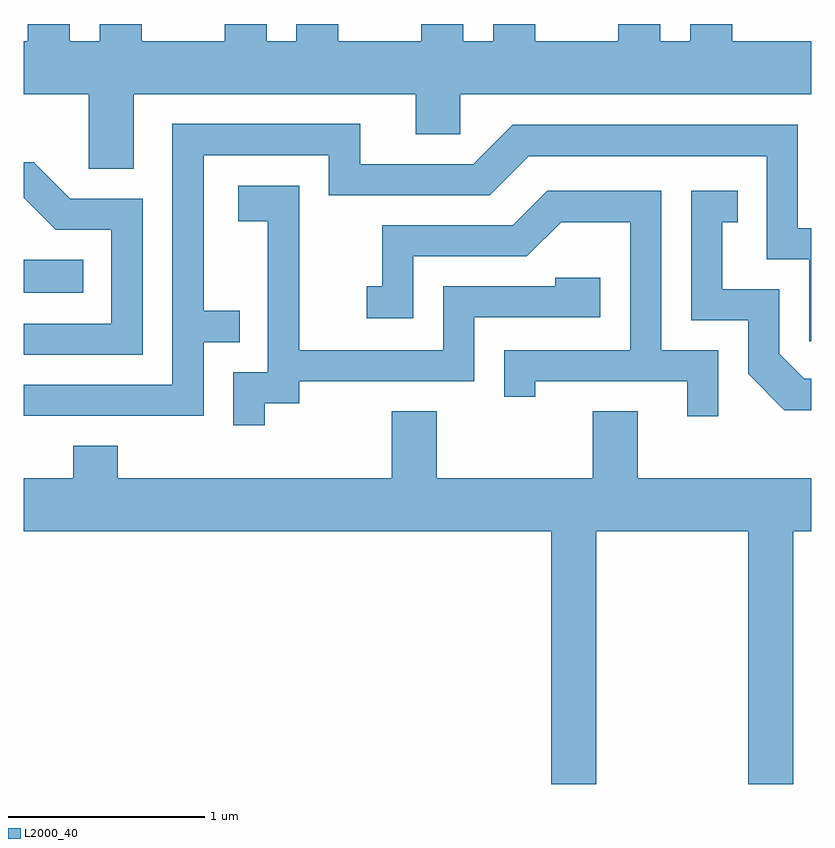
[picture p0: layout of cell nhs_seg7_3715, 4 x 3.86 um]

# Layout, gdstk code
import gdstk
lib = gdstk.Library(unit=1e-6, precision=1e-09)
def R(c, l, rs):  # rectangles x0, y0, x1, y1
    for r in rs: c.add(gdstk.rectangle(r[:2], r[2:], *l))
def P(c, l, *ps):  # polygons
    for p in ps: c.add(gdstk.Polygon(p, *l))
L2000_40 = (2000, 40)

nhs_seg7_3715 = lib.new_cell('nhs_seg7_3715')
R(nhs_seg7_3715, L2000_40, [(299.611,1688.886,299.913,1689.054)])
P(nhs_seg7_3715, L2000_40, [(300.169,1689.896),(301.601,1689.896),(301.601,1689.691),(301.829,1689.691),(301.829,1689.896),(303.611,1689.896),(303.611,1690.164),(303.209,1690.164),(303.209,1690.252),(302.996,1690.252),(302.996,1690.164),(302.844,1690.164),(302.844,1690.252),(302.631,1690.252),(302.631,1690.164),(302.209,1690.164),(302.209,1690.252),(301.996,1690.252),(301.996,1690.164),(301.844,1690.164),(301.844,1690.252),(301.631,1690.252),(301.631,1690.164),(301.209,1690.164),(301.209,1690.252),(300.996,1690.252),(300.996,1690.164),(300.844,1690.164),(300.844,1690.252),(300.631,1690.252),(300.631,1690.164),(300.209,1690.164),(300.209,1690.252),(299.996,1690.252),(299.996,1690.164),(299.844,1690.164),(299.844,1690.252),(299.631,1690.252),(299.631,1690.164),(299.611,1690.164),(299.611,1689.896),(299.941,1689.896),(299.941,1689.516),(300.169,1689.516)],
  [(300.524,1688.636),(300.708,1688.636),(300.708,1688.794),(300.524,1688.794),(300.524,1689.586),(301.161,1689.586),(301.161,1689.381),(301.977,1689.381),(302.177,1689.581),(303.386,1689.581),(303.386,1689.056),(303.601,1689.056),(303.601,1688.641),(303.611,1688.641),(303.611,1689.214),(303.544,1689.214),(303.544,1689.739),(302.094,1689.739),(301.894,1689.539),(301.319,1689.539),(301.319,1689.744),(300.366,1689.744),(300.366,1688.419),(299.611,1688.419),(299.611,1688.261),(300.524,1688.261)],
  [(300.214,1689.364),(299.847,1689.364),(299.662,1689.549),(299.611,1689.549),(299.611,1689.369),(299.774,1689.206),(300.056,1689.206),(300.056,1688.729),(299.611,1688.729),(299.611,1688.571),(300.214,1688.571)],
  [(300.834,1688.326),(301.009,1688.326),(301.009,1688.436),(301.899,1688.436),(301.899,1688.761),(302.539,1688.761),(302.539,1688.964),(302.311,1688.964),(302.311,1688.919),(301.741,1688.919),(301.741,1688.594),(301.009,1688.594),(301.009,1689.429),(300.701,1689.429),(300.701,1689.251),(300.851,1689.251),(300.851,1688.484),(300.676,1688.484),(300.676,1688.213),(300.834,1688.213)],
  [(303.611,1688.449),(303.577,1688.449),(303.449,1688.577),(303.449,1688.904),(303.159,1688.904),(303.159,1689.246),(303.238,1689.246),(303.238,1689.404),(303.001,1689.404),(303.001,1688.746),(303.291,1688.746),(303.291,1688.474),(303.474,1688.291),(303.611,1688.291)],
  [(303.139,1688.594),(302.849,1688.594),(302.849,1689.404),(302.269,1689.404),(302.094,1689.229),(301.431,1689.229),(301.431,1688.919),(301.353,1688.919),(301.353,1688.756),(301.589,1688.756),(301.589,1689.071),(302.167,1689.071),(302.342,1689.246),(302.691,1689.246),(302.691,1688.594),(302.051,1688.594),(302.051,1688.358),(302.209,1688.358),(302.209,1688.436),(302.981,1688.436),(302.981,1688.258),(303.139,1688.258)],
  [(302.519,1687.676),(303.291,1687.676),(303.291,1686.391),(303.519,1686.391),(303.519,1687.676),(303.611,1687.676),(303.611,1687.944),(302.729,1687.944),(302.729,1688.284),(302.501,1688.284),(302.501,1687.944),(301.709,1687.944),(301.709,1688.284),(301.481,1688.284),(301.481,1687.944),(300.089,1687.944),(300.089,1688.109),(299.861,1688.109),(299.861,1687.944),(299.611,1687.944),(299.611,1687.676),(302.291,1687.676),(302.291,1686.391),(302.519,1686.391)])

lib.write_gds('nhs_seg7_3715.gds')
